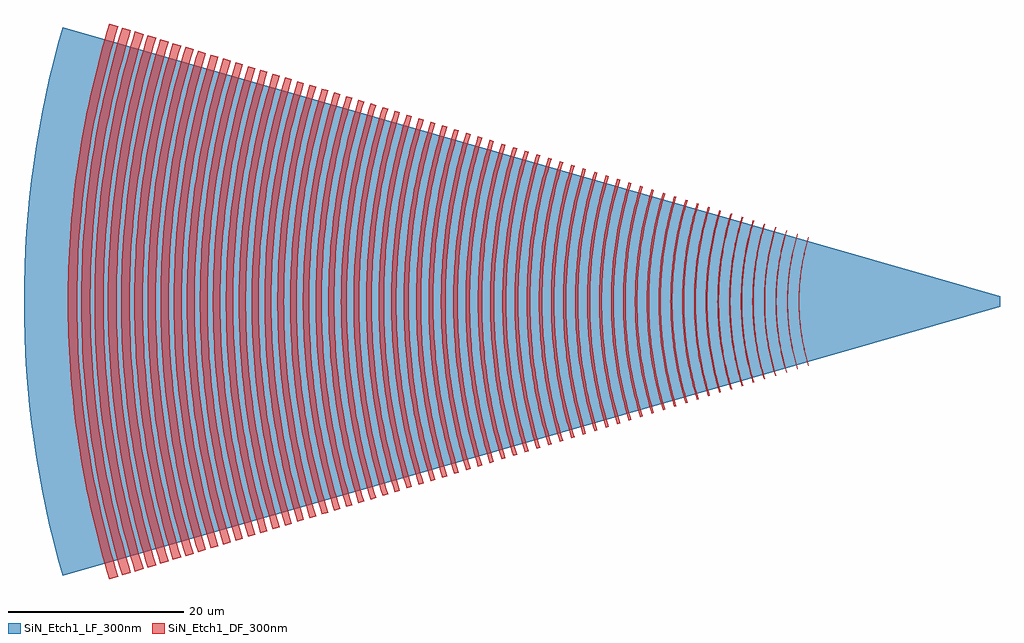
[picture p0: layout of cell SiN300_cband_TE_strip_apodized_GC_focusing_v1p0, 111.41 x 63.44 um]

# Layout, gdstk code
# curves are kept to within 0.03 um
import gdstk
lib = gdstk.Library(unit=1e-6, precision=1e-09)
def P(c, l, *ps):  # polygons
    for p in ps: c.add(gdstk.Polygon(p, *l))
SiN_Etch1_LF_300nm = (203, 0)
SiN_Etch1_DF_300nm = (204, 0)

sin300_cband_te_strip_ap = lib.new_cell('SiN300_cband_TE_strip_apodized_GC_focusing_v1p0')
P(sin300_cband_te_strip_ap, SiN_Etch1_LF_300nm, [(-107.015,-31.286),(-108.04,-27.459),(-108.932,-23.599),(-109.688,-19.71),(-110.307,-15.797),(-110.79,-11.864),(-111.136,-7.918),(-111.343,-3.961),(-111.412,0),(-111.343,3.961),(-111.136,7.918),(-110.79,11.864),(-110.307,15.797),(-109.688,19.71),(-108.932,23.599),(-108.04,27.459),(-107.015,31.286),(0,0.6),(0,-0.6)])
P(sin300_cband_te_strip_ap, SiN_Etch1_DF_300nm, [(-21.878,-7.327),(-22.119,-6.487),(-22.33,-5.639),(-22.513,-4.782),(-22.697,-3.705),(-22.812,-2.837),(-22.896,-1.966),(-22.958,-0.874),(-22.973,0),(-22.958,0.874),(-22.896,1.966),(-22.812,2.837),(-22.697,3.705),(-22.513,4.782),(-22.33,5.639),(-22.119,6.487),(-21.878,7.327),(-21.816,7.309),(-22.112,6.26),(-22.315,5.411),(-22.528,4.341),(-22.665,3.479),(-22.771,2.613),(-22.847,1.744),(-22.893,0.872),(-22.908,0),(-22.893,-0.872),(-22.847,-1.744),(-22.771,-2.613),(-22.665,-3.479),(-22.528,-4.341),(-22.315,-5.411),(-22.112,-6.26),(-21.816,-7.309)],
  [(-23.137,-7.713),(-23.39,-6.827),(-23.664,-5.71),(-23.848,-4.807),(-23.999,-3.9),(-24.119,-2.986),(-24.208,-2.07),(-24.273,-0.921),(-24.289,0),(-24.273,0.921),(-24.208,2.07),(-24.119,2.986),(-23.999,3.9),(-23.848,4.807),(-23.664,5.71),(-23.39,6.827),(-23.137,7.713),(-23.061,7.69),(-23.314,6.807),(-23.587,5.693),(-23.77,4.793),(-23.954,3.661),(-24.066,2.749),(-24.146,1.835),(-24.194,0.918),(-24.21,0),(-24.194,-0.918),(-24.146,-1.835),(-24.066,-2.749),(-23.954,-3.661),(-23.77,-4.793),(-23.587,-5.693),(-23.314,-6.807),(-23.061,-7.69)],
  [(-24.398,-8.099),(-24.726,-6.935),(-24.952,-5.995),(-25.144,-5.048),(-25.304,-4.095),(-25.43,-3.136),(-25.541,-1.933),(-25.591,-0.966),(-25.608,0),(-25.591,0.966),(-25.541,1.933),(-25.43,3.136),(-25.304,4.095),(-25.144,5.048),(-24.952,5.995),(-24.726,6.935),(-24.398,8.099),(-24.309,8.072),(-24.636,6.912),(-24.861,5.975),(-25.096,4.794),(-25.279,3.603),(-25.388,2.646),(-25.464,1.685),(-25.506,0.723),(-25.515,0),(-25.506,-0.723),(-25.464,-1.685),(-25.388,-2.646),(-25.279,-3.603),(-25.096,-4.794),(-24.861,-5.975),(-24.636,-6.912),(-24.309,-8.072)],
  [(-25.663,-8.485),(-26.006,-7.267),(-26.242,-6.281),(-26.444,-5.289),(-26.611,-4.29),(-26.771,-3.033),(-26.86,-2.024),(-26.912,-1.013),(-26.93,0),(-26.912,1.013),(-26.86,2.024),(-26.771,3.033),(-26.611,4.29),(-26.444,5.289),(-26.242,6.281),(-26.006,7.267),(-25.663,8.485),(-25.56,8.454),(-25.838,7.484),(-26.138,6.258),(-26.384,5.021),(-26.542,4.024),(-26.665,3.022),(-26.753,2.017),(-26.805,1.009),(-26.823,0),(-26.805,-1.009),(-26.753,-2.017),(-26.665,-3.022),(-26.542,-4.024),(-26.384,-5.021),(-26.138,-6.258),(-25.838,-7.484),(-25.56,-8.454)],
  [(-26.929,-8.872),(-27.221,-7.854),(-27.536,-6.568),(-27.747,-5.53),(-27.922,-4.486),(-28.06,-3.436),(-28.162,-2.381),(-28.237,-1.059),(-28.255,0),(-28.237,1.059),(-28.162,2.381),(-28.06,3.436),(-27.922,4.486),(-27.747,5.53),(-27.536,6.568),(-27.221,7.854),(-26.929,8.872),(-26.813,8.837),(-27.104,7.823),(-27.418,6.542),(-27.675,5.249),(-27.84,4.207),(-27.968,3.159),(-28.06,2.108),(-28.116,1.055),(-28.134,0),(-28.116,-1.055),(-28.06,-2.108),(-27.968,-3.159),(-27.84,-4.207),(-27.675,-5.249),(-27.418,-6.542),(-27.104,-7.823),(-26.813,-8.837)],
  [(-28.199,-9.26),(-28.503,-8.198),(-28.772,-7.125),(-29.002,-6.044),(-29.236,-4.682),(-29.379,-3.585),(-29.486,-2.486),(-29.564,-1.106),(-29.583,0),(-29.564,1.106),(-29.486,2.486),(-29.379,3.585),(-29.236,4.682),(-29.002,6.044),(-28.772,7.125),(-28.503,8.198),(-28.199,9.26),(-28.07,9.221),(-28.443,7.897),(-28.759,6.558),(-28.969,5.477),(-29.178,4.117),(-29.303,3.023),(-29.371,2.2),(-29.429,1.101),(-29.448,0),(-29.429,-1.101),(-29.371,-2.2),(-29.303,-3.023),(-29.178,-4.117),(-28.969,-5.477),(-28.759,-6.558),(-28.443,-7.897),(-28.07,-9.221)],
  [(-29.472,-9.649),(-29.789,-8.542),(-30.068,-7.425),(-30.361,-6.015),(-30.551,-4.879),(-30.702,-3.737),(-30.813,-2.59),(-30.883,-1.439),(-30.914,0),(-30.883,1.439),(-30.813,2.59),(-30.702,3.737),(-30.551,4.879),(-30.361,6.015),(-30.068,7.425),(-29.789,8.542),(-29.472,9.649),(-29.329,9.606),(-29.718,8.227),(-29.986,7.112),(-30.266,5.706),(-30.484,4.289),(-30.614,3.149),(-30.704,2.006),(-30.754,0.86),(-30.765,0),(-30.754,-0.86),(-30.704,-2.006),(-30.614,-3.149),(-30.484,-4.289),(-30.266,-5.706),(-29.986,-7.112),(-29.718,-8.227),(-29.329,-9.606)],
  [(-30.748,-10.039),(-31.077,-8.888),(-31.368,-7.725),(-31.673,-6.258),(-31.871,-5.076),(-32.06,-3.589),(-32.165,-2.395),(-32.227,-1.199),(-32.248,0),(-32.227,1.199),(-32.165,2.395),(-32.06,3.589),(-31.871,5.076),(-31.673,6.258),(-31.368,7.725),(-31.077,8.888),(-30.748,10.039),(-30.592,9.992),(-30.92,8.846),(-31.275,7.397),(-31.566,5.935),(-31.793,4.461),(-32.002,2.384),(-32.064,1.193),(-32.085,0),(-32.064,-1.193),(-32.002,-2.384),(-31.793,-4.461),(-31.566,-5.935),(-31.275,-7.397),(-30.92,-8.846),(-30.592,-9.992)],
  [(-32.027,-10.43),(-32.369,-9.234),(-32.74,-7.721),(-32.988,-6.501),(-33.193,-5.273),(-33.39,-3.73),(-33.499,-2.488),(-33.563,-1.245),(-33.585,0),(-33.563,1.245),(-33.499,2.488),(-33.39,3.73),(-33.193,5.273),(-32.988,6.501),(-32.74,7.721),(-32.369,9.234),(-32.027,10.43),(-31.856,10.379),(-32.197,9.188),(-32.566,7.683),(-32.868,6.164),(-33.103,4.634),(-33.321,2.476),(-33.385,1.239),(-33.407,0),(-33.385,-1.239),(-33.321,-2.476),(-33.103,-4.634),(-32.868,-6.164),(-32.566,-7.683),(-32.197,-9.188),(-31.856,-10.379)],
  [(-33.308,-10.822),(-33.663,-9.581),(-33.976,-8.327),(-34.245,-7.063),(-34.519,-5.471),(-34.687,-4.19),(-34.835,-2.582),(-34.903,-1.292),(-34.925,0),(-34.903,1.292),(-34.835,2.582),(-34.687,4.19),(-34.519,5.471),(-34.245,7.063),(-33.976,8.327),(-33.663,9.581),(-33.308,10.822),(-33.124,10.767),(-33.56,9.22),(-33.86,7.97),(-34.174,6.395),(-34.418,4.807),(-34.643,2.569),(-34.711,1.285),(-34.733,0),(-34.711,-1.285),(-34.643,-2.569),(-34.418,-4.807),(-34.174,-6.395),(-33.86,-7.97),(-33.56,-9.22),(-33.124,-10.767)],
  [(-34.592,-11.215),(-34.961,-9.929),(-35.285,-8.63),(-35.626,-6.991),(-35.847,-5.67),(-36.022,-4.342),(-36.174,-2.676),(-36.245,-1.339),(-36.268,0),(-36.245,1.339),(-36.174,2.676),(-36.022,4.342),(-35.847,5.67),(-35.626,6.991),(-35.285,8.63),(-34.961,9.929),(-34.592,11.215),(-34.394,11.155),(-34.846,9.553),(-35.157,8.258),(-35.481,6.625),(-35.735,4.98),(-35.885,3.657),(-35.99,2.329),(-36.061,0),(-35.99,-2.329),(-35.885,-3.657),(-35.735,-4.98),(-35.481,-6.625),(-35.157,-8.258),(-34.846,-9.553),(-34.394,-11.155)],
  [(-35.88,-11.608),(-36.262,-10.276),(-36.673,-8.594),(-36.949,-7.236),(-37.178,-5.869),(-37.397,-4.15),(-37.517,-2.769),(-37.59,-1.386),(-37.614,0),(-37.59,1.386),(-37.517,2.769),(-37.397,4.15),(-37.178,5.869),(-36.949,7.236),(-36.673,8.594),(-36.262,10.276),(-35.88,11.608),(-35.668,11.544),(-36.048,10.219),(-36.457,8.546),(-36.793,6.856),(-37.055,5.154),(-37.297,2.754),(-37.369,1.378),(-37.393,0),(-37.369,-1.378),(-37.297,-2.754),(-37.055,-5.154),(-36.793,-6.856),(-36.457,-8.546),(-36.048,-10.219),(-35.668,-11.544)],
  [(-37.169,-12.002),(-37.564,-10.626),(-37.911,-9.235),(-38.209,-7.834),(-38.512,-6.068),(-38.7,-4.647),(-38.863,-2.864),(-38.938,-1.433),(-38.963,0),(-38.938,1.433),(-38.863,2.864),(-38.7,4.647),(-38.512,6.068),(-38.209,7.834),(-37.911,9.235),(-37.564,10.626),(-37.169,12.002),(-36.943,11.934),(-37.427,10.22),(-37.835,8.487),(-38.107,7.088),(-38.378,5.328),(-38.628,2.847),(-38.702,1.425),(-38.727,0),(-38.702,-1.425),(-38.628,-2.847),(-38.378,-5.328),(-38.107,-7.088),(-37.835,-8.487),(-37.427,-10.22),(-36.943,-11.934)],
  [(-38.462,-12.397),(-38.87,-10.976),(-39.229,-9.54),(-39.605,-7.728),(-39.849,-6.268),(-40.042,-4.8),(-40.184,-3.327),(-40.275,-1.85),(-40.315,0),(-40.275,1.85),(-40.184,3.327),(-40.042,4.8),(-39.849,6.268),(-39.605,7.728),(-39.229,9.54),(-38.87,10.976),(-38.462,12.397),(-38.222,12.325),(-38.721,10.555),(-39.143,8.765),(-39.424,7.32),(-39.703,5.502),(-39.961,2.941),(-40.038,1.471),(-40.064,0),(-40.038,-1.471),(-39.961,-2.941),(-39.703,-5.502),(-39.424,-7.32),(-39.143,-8.765),(-38.721,-10.555),(-38.222,-12.325)],
  [(-39.759,-12.794),(-40.278,-10.958),(-40.634,-9.471),(-40.939,-7.975),(-41.19,-6.469),(-41.536,-3.434),(-41.63,-1.909),(-41.671,0),(-41.63,1.909),(-41.536,3.434),(-41.19,6.469),(-40.939,7.975),(-40.634,9.471),(-40.278,10.958),(-39.759,12.794),(-39.504,12.717),(-40.02,10.891),(-40.374,9.414),(-40.744,7.553),(-41.033,5.677),(-41.205,4.169),(-41.324,2.655),(-41.405,0),(-41.324,-2.655),(-41.205,-4.169),(-41.033,-5.677),(-40.744,-7.553),(-40.374,-9.414),(-40.02,-10.891),(-39.504,-12.717)],
  [(-41.059,-13.191),(-41.874,-10.15),(-42.201,-8.61),(-42.534,-6.67),(-42.891,-3.54),(-43.003,-1.575),(-43.03,0),(-43.003,1.575),(-42.891,3.54),(-42.534,6.67),(-42.201,8.61),(-41.874,10.15),(-41.059,13.191),(-40.79,13.11),(-41.321,11.227),(-41.769,9.323),(-42.134,7.401),(-42.415,5.465),(-42.665,2.737),(-42.749,0),(-42.665,-2.737),(-42.415,-5.465),(-42.134,-7.401),(-41.769,-9.323),(-41.321,-11.227),(-40.79,-13.11)],
  [(-42.361,-13.589),(-42.912,-11.639),(-43.29,-10.061),(-43.882,-6.871),(-44.249,-3.647),(-44.364,-1.622),(-44.392,0),(-44.364,1.622),(-44.249,3.647),(-43.882,6.871),(-43.29,10.061),(-42.912,11.639),(-42.361,13.589),(-42.078,13.504),(-42.625,11.565),(-43.087,9.603),(-43.463,7.623),(-43.701,6.029),(-44.01,2.82),(-44.096,0),(-44.01,-2.82),(-43.701,-6.029),(-43.463,-7.623),(-43.087,-9.603),(-42.625,-11.565),(-42.078,-13.504)],
  [(-43.668,-13.989),(-44.532,-10.764),(-44.957,-8.72),(-45.233,-7.073),(-45.496,-5.002),(-45.641,-3.338),(-45.758,0),(-45.641,3.338),(-45.496,5.002),(-45.233,7.073),(-44.957,8.72),(-44.532,10.764),(-43.668,13.989),(-43.369,13.899),(-43.932,11.903),(-44.407,9.884),(-44.794,7.846),(-45.092,5.793),(-45.357,2.902),(-45.446,0),(-45.357,-2.902),(-45.092,-5.793),(-44.794,-7.846),(-44.407,-9.884),(-43.932,-11.903),(-43.369,-13.899)],
  [(-44.977,-14.389),(-45.866,-11.072),(-46.223,-9.392),(-46.586,-7.275),(-46.811,-5.572),(-47.007,-3.434),(-47.127,0),(-47.007,3.434),(-46.811,5.572),(-46.586,7.275),(-46.223,9.392),(-45.866,11.072),(-44.977,14.389),(-44.664,14.295),(-45.243,12.242),(-45.732,10.165),(-46.129,8.07),(-46.436,5.958),(-46.709,2.985),(-46.8,0),(-46.709,-2.985),(-46.436,-5.958),(-46.129,-8.07),(-45.732,-10.165),(-45.243,-12.242),(-44.664,-14.295)],
  [(-46.288,-14.79),(-46.775,-13.093),(-47.3,-10.95),(-47.652,-9.22),(-47.943,-7.478),(-48.174,-5.727),(-48.376,-3.529),(-48.468,-1.766),(-48.499,0),(-48.468,1.766),(-48.376,3.529),(-48.174,5.727),(-47.943,7.478),(-47.652,9.22),(-47.3,10.95),(-46.775,13.093),(-46.288,14.79),(-45.96,14.691),(-46.555,12.581),(-47.058,10.447),(-47.467,8.293),(-47.781,6.124),(-48.062,3.068),(-48.156,0),(-48.062,-3.068),(-47.781,-6.124),(-47.467,-8.293),(-47.058,-10.447),(-46.555,-12.581),(-45.96,-14.691)],
  [(-47.604,-15.192),(-48.104,-13.45),(-48.643,-11.248),(-49.004,-9.47),(-49.303,-7.681),(-49.54,-5.883),(-49.714,-4.077),(-49.843,-1.813),(-49.874,0),(-49.843,1.813),(-49.714,4.077),(-49.54,5.883),(-49.303,7.681),(-49.004,9.47),(-48.643,11.248),(-48.104,13.45),(-47.604,15.192),(-47.261,15.089),(-47.872,12.922),(-48.388,10.73),(-48.808,8.518),(-49.131,6.289),(-49.42,3.151),(-49.516,0),(-49.42,-3.151),(-49.131,-6.289),(-48.808,-8.518),(-48.388,-10.73),(-47.872,-12.922),(-47.261,-15.089)],
  [(-48.922,-15.596),(-49.554,-13.357),(-49.988,-11.546),(-50.36,-9.721),(-50.667,-7.885),(-50.91,-6.038),(-51.089,-4.186),(-51.203,-2.328),(-51.253,0),(-51.203,2.328),(-51.089,4.186),(-50.91,6.038),(-50.667,7.885),(-50.36,9.721),(-49.988,11.546),(-49.554,13.357),(-48.922,15.596),(-48.564,15.487),(-49.192,13.263),(-49.721,11.013),(-50.153,8.743),(-50.484,6.456),(-50.78,3.234),(-50.879,0),(-50.78,-3.234),(-50.484,-6.456),(-50.153,-8.743),(-49.721,-11.013),(-49.192,-13.263),(-48.564,-15.487)],
  [(-50.245,-15.999),(-50.771,-14.164),(-51.338,-11.846),(-51.719,-9.973),(-52.034,-8.09),(-52.284,-6.195),(-52.502,-3.818),(-52.602,-1.91),(-52.635,0),(-52.602,1.91),(-52.502,3.818),(-52.284,6.195),(-52.034,8.09),(-51.719,9.973),(-51.338,11.846),(-50.771,14.164),(-50.245,15.999),(-49.871,15.887),(-50.514,13.605),(-51.058,11.297),(-51.5,8.968),(-51.84,6.622),(-52.144,3.317),(-52.245,0),(-52.144,-3.317),(-51.84,-6.622),(-51.5,-8.968),(-51.058,-11.297),(-50.514,-13.605),(-49.871,-15.887)],
  [(-51.57,-16.404),(-52.234,-14.05),(-52.691,-12.145),(-53.081,-10.226),(-53.405,-8.294),(-53.66,-6.352),(-53.848,-4.403),(-53.968,-2.448),(-54.021,0),(-53.968,2.448),(-53.848,4.403),(-53.66,6.352),(-53.405,8.294),(-53.081,10.226),(-52.691,12.145),(-52.234,14.05),(-51.57,16.404),(-51.181,16.287),(-51.841,13.948),(-52.398,11.582),(-52.851,9.194),(-53.2,6.789),(-53.511,3.401),(-53.615,0),(-53.511,-3.401),(-53.2,-6.789),(-52.851,-9.194),(-52.398,-11.582),(-51.841,-13.948),(-51.181,-16.287)],
  [(-52.898,-16.81),(-53.579,-14.398),(-54.047,-12.446),(-54.447,-10.479),(-54.778,-8.5),(-55.04,-6.509),(-55.233,-4.511),(-55.356,-2.508),(-55.41,0),(-55.356,2.508),(-55.233,4.511),(-55.04,6.509),(-54.778,8.5),(-54.447,10.479),(-54.047,12.446),(-53.579,14.398),(-52.898,16.81),(-52.494,16.689),(-53.17,14.292),(-53.741,11.868),(-54.205,9.421),(-54.563,6.956),(-54.882,3.485),(-54.988,0),(-54.882,-3.485),(-54.563,-6.956),(-54.205,-9.421),(-53.741,-11.868),(-53.17,-14.292),(-52.494,-16.689)],
  [(-54.229,-17.217),(-54.795,-15.243),(-55.293,-13.248),(-55.816,-10.733),(-56.155,-8.705),(-56.48,-6.156),(-56.659,-4.109),(-56.766,-2.055),(-56.802,0),(-56.766,2.055),(-56.659,4.109),(-56.48,6.156),(-56.155,8.705),(-55.816,10.733),(-55.293,13.248),(-54.795,15.243),(-54.229,17.217),(-53.81,17.091),(-54.502,14.636),(-55.087,12.154),(-55.562,9.648),(-55.928,7.124),(-56.255,3.569),(-56.364,0),(-56.255,-3.569),(-55.928,-7.124),(-55.562,-9.648),(-55.087,-12.154),(-54.502,-14.636),(-53.81,-17.091)],
  [(-55.564,-17.626),(-56.144,-15.604),(-56.769,-13.049),(-57.188,-10.987),(-57.536,-8.912),(-57.81,-6.825),(-58.013,-4.731),(-58.162,-2.104),(-58.198,0),(-58.162,2.104),(-58.013,4.731),(-57.81,6.825),(-57.536,8.912),(-57.188,10.987),(-56.769,13.049),(-56.144,15.604),(-55.564,17.626),(-55.128,17.494),(-55.837,14.981),(-56.435,12.44),(-56.922,9.876),(-57.297,7.292),(-57.631,3.653),(-57.743,0),(-57.631,-3.653),(-57.297,-7.292),(-56.922,-9.876),(-56.435,-12.44),(-55.837,-14.981),(-55.128,-17.494)],
  [(-56.902,-18.034),(-57.632,-15.446),(-58.135,-13.352),(-58.564,-11.242),(-58.92,-9.119),(-59.259,-6.448),(-59.447,-4.303),(-59.56,-2.152),(-59.597,0),(-59.56,2.152),(-59.447,4.303),(-59.259,6.448),(-58.92,9.119),(-58.564,11.242),(-58.135,13.352),(-57.632,15.446),(-56.902,18.034),(-56.451,17.898),(-57.176,15.328),(-57.675,13.25),(-58.101,11.156),(-58.454,9.049),(-58.791,6.399),(-58.977,4.27),(-59.089,2.136),(-59.126,0),(-59.089,-2.136),(-58.977,-4.27),(-58.791,-6.399),(-58.454,-9.049),(-58.101,-11.156),(-57.675,-13.25),(-57.176,-15.328),(-56.451,-17.898)],
  [(-58.244,-18.444),(-58.991,-15.797),(-59.504,-13.656),(-59.944,-11.498),(-60.307,-9.325),(-60.595,-7.142),(-60.806,-4.95),(-60.962,-2.202),(-61,0),(-60.962,2.202),(-60.806,4.95),(-60.595,7.142),(-60.307,9.325),(-59.944,11.498),(-59.504,13.656),(-58.991,15.797),(-58.244,18.444),(-57.777,18.304),(-58.518,15.675),(-59.028,13.55),(-59.464,11.409),(-59.824,9.253),(-60.11,7.087),(-60.319,4.912),(-60.474,2.185),(-60.512,0),(-60.474,-2.185),(-60.319,-4.912),(-60.11,-7.087),(-59.824,-9.253),(-59.464,-11.409),(-59.028,-13.55),(-58.518,-15.675),(-57.777,-18.304)],
  [(-59.589,-18.855),(-60.208,-16.693),(-60.753,-14.509),(-61.326,-11.754),(-61.697,-9.533),(-61.992,-7.301),(-62.249,-4.499),(-62.367,-2.251),(-62.406,0),(-62.367,2.251),(-62.249,4.499),(-61.992,7.301),(-61.697,9.533),(-61.326,11.754),(-60.753,14.509),(-60.208,16.693),(-59.589,18.855),(-59.106,18.71),(-59.721,16.563),(-60.262,14.396),(-60.726,12.211),(-61.199,9.459),(-61.491,7.244),(-61.705,5.021),(-61.863,2.233),(-61.902,0),(-61.863,-2.233),(-61.705,-5.021),(-61.491,-7.244),(-61.199,-9.459),(-60.726,-12.211),(-60.262,-14.396),(-59.721,-16.563),(-59.106,-18.71)],
  [(-60.937,-19.267),(-61.57,-17.058),(-62.254,-14.265),(-62.712,-12.011),(-63.092,-9.742),(-63.393,-7.461),(-63.656,-4.598),(-63.776,-2.3),(-63.816,0),(-63.776,2.3),(-63.656,4.598),(-63.393,7.461),(-63.092,9.742),(-62.712,12.011),(-62.254,14.265),(-61.57,17.058),(-60.937,19.267),(-60.438,19.117),(-61.067,16.923),(-61.619,14.709),(-62.094,12.476),(-62.577,9.665),(-62.875,7.402),(-63.136,4.561),(-63.255,2.282),(-63.295,0),(-63.255,-2.282),(-63.136,-4.561),(-62.875,-7.402),(-62.577,-9.665),(-62.094,-12.476),(-61.619,-14.709),(-61.067,-16.923),(-60.438,-19.117)],
  [(-62.289,-19.681),(-63.086,-16.856),(-63.634,-14.572),(-64.103,-12.268),(-64.49,-9.95),(-64.798,-7.621),(-65.066,-4.696),(-65.189,-2.35),(-65.23,0),(-65.189,2.35),(-65.066,4.696),(-64.798,7.621),(-64.49,9.95),(-64.103,12.268),(-63.634,14.572),(-63.086,16.856),(-62.289,19.681),(-61.774,19.526),(-62.565,16.721),(-63.109,14.455),(-63.574,12.17),(-63.958,9.871),(-64.263,7.56),(-64.486,5.24),(-64.651,2.331),(-64.692,0),(-64.651,-2.331),(-64.486,-5.24),(-64.263,-7.56),(-63.958,-9.871),(-63.574,-12.17),(-63.109,-14.455),(-62.565,-16.721),(-61.774,-19.526)],
  [(-63.645,-20.094),(-64.305,-17.791),(-65.018,-14.878),(-65.496,-12.527),(-65.892,-10.16),(-66.205,-7.781),(-66.48,-4.795),(-66.605,-2.4),(-66.647,0),(-66.605,2.4),(-66.48,4.795),(-66.205,7.781),(-65.892,10.16),(-65.496,12.527),(-65.018,14.878),(-64.305,17.791),(-63.645,20.094),(-63.113,19.935),(-63.769,17.647),(-64.476,14.758),(-64.95,12.426),(-65.343,10.078),(-65.654,7.719),(-65.882,5.35),(-66.027,2.974),(-66.092,0),(-66.027,-2.974),(-65.882,-5.35),(-65.654,-7.719),(-65.343,-10.078),(-64.95,-12.426),(-64.476,-14.758),(-63.769,-17.647),(-63.113,-19.935)],
  [(-65.003,-20.511),(-65.678,-18.159),(-66.269,-15.783),(-66.893,-12.786),(-67.298,-10.371),(-67.684,-7.334),(-67.897,-4.894),(-68.026,-2.449),(-68.068,0),(-68.026,2.449),(-67.897,4.894),(-67.684,7.334),(-67.298,10.371),(-66.893,12.786),(-66.269,15.783),(-65.678,18.159),(-65.003,20.511),(-64.455,20.346),(-65.125,18.011),(-65.846,15.062),(-66.331,12.681),(-66.732,10.286),(-67.049,7.878),(-67.281,5.46),(-67.454,2.429),(-67.496,0),(-67.454,-2.429),(-67.281,-5.46),(-67.049,-7.878),(-66.732,-10.286),(-66.331,-12.681),(-65.846,-15.062),(-65.125,-18.011),(-64.455,-20.346)],
  [(-66.366,-20.927),(-67.213,-17.924),(-67.796,-15.494),(-68.294,-13.045),(-68.707,-10.581),(-69.033,-8.104),(-69.319,-4.993),(-69.45,-2.499),(-69.493,0),(-69.45,2.499),(-69.319,4.993),(-69.033,8.104),(-68.707,10.581),(-68.294,13.045),(-67.796,15.494),(-67.213,17.924),(-66.366,20.927),(-65.801,20.757),(-66.642,17.776),(-67.22,15.366),(-67.714,12.938),(-68.123,10.494),(-68.447,8.037),(-68.73,4.952),(-68.86,2.478),(-68.903,0),(-68.86,-2.478),(-68.73,-4.952),(-68.447,-8.037),(-68.123,-10.494),(-67.714,-12.938),(-67.22,-15.366),(-66.642,-17.776),(-65.801,-20.757)],
  [(-67.731,-21.344),(-68.596,-18.281),(-69.191,-15.804),(-69.699,-13.305),(-70.119,-10.791),(-70.452,-8.266),(-70.744,-5.093),(-70.877,-2.548),(-70.921,0),(-70.877,2.548),(-70.744,5.093),(-70.452,8.266),(-70.119,10.791),(-69.699,13.305),(-69.191,15.804),(-68.596,18.281),(-67.731,21.344),(-67.15,21.169),(-68.008,18.129),(-68.598,15.672),(-69.102,13.195),(-69.519,10.702),(-69.849,8.197),(-70.138,5.051),(-70.27,2.527),(-70.314,0),(-70.27,-2.527),(-70.138,-5.051),(-69.849,-8.197),(-69.519,-10.702),(-69.102,-13.195),(-68.598,-15.672),(-68.008,-18.129),(-67.15,-21.169)],
  [(-69.1,-21.763),(-69.817,-19.268),(-70.445,-16.747),(-71.107,-13.567),(-71.535,-11.004),(-71.874,-8.428),(-72.123,-5.841),(-72.308,-2.598),(-72.353,0),(-72.308,2.598),(-72.123,5.841),(-71.874,8.428),(-71.535,11.004),(-71.107,13.567),(-70.445,16.747),(-69.817,19.268),(-69.1,21.763),(-68.502,21.583),(-69.213,19.106),(-69.836,16.606),(-70.372,14.086),(-70.917,10.911),(-71.324,7.716),(-71.548,5.149),(-71.683,2.576),(-71.728,0),(-71.683,-2.576),(-71.548,-5.149),(-71.324,-7.716),(-70.917,-10.911),(-70.372,-14.086),(-69.836,-16.606),(-69.213,-19.106),(-68.502,-21.583)],
  [(-70.473,-22.183),(-71.203,-19.639),(-71.991,-16.423),(-72.518,-13.828),(-72.956,-11.216),(-73.301,-8.59),(-73.555,-5.953),(-73.743,-2.649),(-73.789,0),(-73.743,2.649),(-73.555,5.953),(-73.301,8.59),(-72.956,11.216),(-72.518,13.828),(-71.991,16.423),(-71.203,19.639),(-70.473,22.183),(-69.858,21.997),(-70.582,19.473),(-71.218,16.925),(-71.764,14.356),(-72.32,11.121),(-72.734,7.865),(-72.963,5.248),(-73.1,2.626),(-73.146,0),(-73.1,-2.626),(-72.963,-5.248),(-72.734,-7.865),(-72.32,-11.121),(-71.764,-14.356),(-71.218,-16.925),(-70.582,-19.473),(-69.858,-21.997)],
  [(-71.85,-22.604),(-72.594,-20.012),(-73.395,-16.735),(-73.933,-14.09),(-74.379,-11.429),(-74.731,-8.752),(-74.99,-6.067),(-75.181,-2.698),(-75.228,0),(-75.181,2.698),(-74.99,6.067),(-74.731,8.752),(-74.379,11.429),(-73.933,14.09),(-73.395,16.735),(-72.594,20.012),(-71.85,22.604),(-71.218,22.413),(-71.956,19.841),(-72.751,16.592),(-73.284,13.97),(-73.726,11.331),(-74.075,8.678),(-74.332,6.015),(-74.495,3.344),(-74.568,0),(-74.495,-3.344),(-74.332,-6.015),(-74.075,-8.678),(-73.726,-11.331),(-73.284,-13.97),(-72.751,-16.592),(-71.956,-19.841),(-71.218,-22.413)],
  [(-73.231,-23.025),(-73.988,-20.386),(-74.654,-17.717),(-75.225,-15.029),(-75.807,-11.642),(-76.166,-8.916),(-76.48,-5.494),(-76.624,-2.748),(-76.672,0),(-76.624,2.748),(-76.48,5.494),(-76.166,8.916),(-75.807,11.642),(-75.225,15.029),(-74.654,17.717),(-73.988,20.386),(-73.231,23.025),(-72.581,22.83),(-73.332,20.21),(-73.992,17.565),(-74.685,14.23),(-75.135,11.542),(-75.491,8.839),(-75.803,5.447),(-75.945,2.725),(-75.993,0),(-75.945,-2.725),(-75.803,-5.447),(-75.491,-8.839),(-75.135,-11.542),(-74.685,-14.23),(-73.992,-17.565),(-73.332,-20.21),(-72.581,-22.83)],
  [(-74.616,-23.449),(-75.387,-20.76),(-76.219,-17.361),(-76.777,-14.617),(-77.239,-11.856),(-77.605,-9.08),(-77.873,-6.294),(-78.072,-2.8),(-78.12,0),(-78.072,2.8),(-77.873,6.294),(-77.605,9.08),(-77.239,11.856),(-76.777,14.617),(-76.219,17.361),(-75.387,20.76),(-74.616,23.449),(-73.949,23.248),(-74.714,20.58),(-75.385,17.887),(-76.092,14.49),(-76.55,11.753),(-76.912,9.001),(-77.178,6.239),(-77.375,2.775),(-77.423,0),(-77.375,-2.775),(-77.178,-6.239),(-76.912,-9.001),(-76.55,-11.753),(-76.092,-14.49),(-75.385,-17.887),(-74.714,-20.58),(-73.949,-23.248)],
  [(-76.005,-23.873),(-76.79,-21.136),(-77.479,-18.371),(-78.072,-15.583),(-78.675,-12.071),(-79.125,-8.535),(-79.373,-5.697),(-79.523,-2.85),(-79.572,0),(-79.523,2.85),(-79.373,5.697),(-79.125,8.535),(-78.675,12.071),(-78.072,15.583),(-77.479,18.371),(-76.79,21.136),(-76.005,23.873),(-75.32,23.667),(-76.279,20.268),(-76.938,17.521),(-77.502,14.752),(-77.968,11.965),(-78.414,8.461),(-78.66,5.647),(-78.808,2.825),(-78.857,0),(-78.808,-2.825),(-78.66,-5.647),(-78.414,-8.461),(-77.968,-11.965),(-77.502,-14.752),(-76.938,-17.521),(-76.279,-20.268),(-75.32,-23.667)],
  [(-77.397,-24.298),(-78.381,-20.812),(-79.058,-17.991),(-79.636,-15.148),(-80.115,-12.285),(-80.493,-9.409),(-80.772,-6.522),(-80.978,-2.901),(-81.028,0),(-80.978,2.901),(-80.772,6.522),(-80.493,9.409),(-80.115,12.285),(-79.636,15.148),(-79.058,17.991),(-78.381,20.812),(-77.397,24.298),(-76.694,24.087),(-77.487,21.323),(-78.341,17.832),(-78.914,15.014),(-79.389,12.177),(-79.764,9.326),(-80.04,6.464),(-80.216,3.594),(-80.294,0),(-80.216,-3.594),(-80.04,-6.464),(-79.764,-9.326),(-79.389,-12.177),(-78.914,-15.014),(-78.341,-17.832),(-77.67,-20.628),(-76.694,-24.087)],
  [(-78.792,-24.726),(-79.605,-21.891),(-80.32,-19.026),(-80.933,-16.138),(-81.558,-12.501),(-81.943,-9.574),(-82.227,-6.636),(-82.436,-2.952),(-82.487,0),(-82.436,2.952),(-82.227,6.636),(-81.943,9.574),(-81.558,12.501),(-80.933,16.138),(-80.32,19.026),(-79.605,21.891),(-78.792,24.726),(-78.072,24.509),(-78.879,21.696),(-79.587,18.857),(-80.195,15.995),(-80.814,12.39),(-81.196,9.489),(-81.477,6.577),(-81.684,2.926),(-81.735,0),(-81.684,-2.926),(-81.477,-6.577),(-81.196,-9.489),(-80.814,-12.39),(-80.195,-15.995),(-79.587,-18.857),(-78.879,-21.696),(-78.072,-24.509)],
  [(-80.192,-25.153),(-81.019,-22.269),(-81.912,-18.623),(-82.51,-15.681),(-83.006,-12.718),(-83.398,-9.741),(-83.686,-6.75),(-83.899,-3.003),(-83.951,0),(-83.899,3.003),(-83.686,6.75),(-83.398,9.741),(-83.006,12.718),(-82.51,15.681),(-81.912,18.623),(-81.019,22.269),(-80.192,25.153),(-79.454,24.931),(-80.464,21.35),(-81.159,18.456),(-81.752,15.54),(-82.243,12.604),(-82.632,9.653),(-82.917,6.69),(-83.099,3.72),(-83.18,0),(-83.099,-3.72),(-82.917,-6.69),(-82.632,-9.653),(-82.243,-12.604),(-81.752,-15.54),(-81.159,-18.456),(-80.464,-21.35),(-79.454,-24.931)],
  [(-81.597,-25.582),(-82.437,-22.65),(-83.176,-19.685),(-83.954,-15.948),(-84.457,-12.935),(-84.857,-9.906),(-85.15,-6.866),(-85.366,-3.055),(-85.419,0),(-85.366,3.055),(-85.15,6.866),(-84.857,9.906),(-84.457,12.935),(-83.954,15.948),(-83.176,19.685),(-82.437,22.65),(-81.597,25.582),(-80.84,25.355),(-81.867,21.713),(-82.573,18.77),(-83.177,15.804),(-83.676,12.818),(-84.072,9.817),(-84.362,6.804),(-84.576,3.027),(-84.629,0),(-84.576,-3.027),(-84.362,-6.804),(-84.072,-9.817),(-83.676,-12.818),(-83.177,-15.804),(-82.573,-18.77),(-81.867,-21.713),(-80.84,-25.355)],
  [(-83.004,-26.013),(-83.859,-23.03),(-84.782,-19.259),(-85.402,-16.215),(-85.913,-13.153),(-86.319,-10.073),(-86.617,-6.982),(-86.837,-3.105),(-86.891,0),(-86.837,3.105),(-86.617,6.982),(-86.319,10.073),(-85.913,13.153),(-85.402,16.215),(-84.782,19.259),(-83.859,23.03),(-83.004,26.013),(-82.229,25.78),(-83.078,22.821),(-83.992,19.084),(-84.606,16.068),(-85.113,13.033),(-85.515,9.982),(-85.81,6.918),(-85.998,3.846),(-86.082,0),(-85.998,-3.846),(-85.81,-6.918),(-85.515,-9.982),(-85.113,-13.033),(-84.606,-16.068),(-83.992,-19.084),(-83.078,-22.821),(-82.229,-25.78)],
  [(-84.416,-26.444),(-85.285,-23.412),(-86.049,-20.349),(-86.705,-17.26),(-87.373,-13.371),(-87.786,-10.241),(-88.147,-6.31),(-88.312,-3.157),(-88.367,0),(-88.312,3.157),(-88.147,6.31),(-87.786,10.241),(-87.373,13.371),(-86.705,17.26),(-86.049,20.349),(-85.285,23.412),(-84.416,26.444),(-83.623,26.206),(-84.485,23.198),(-85.242,20.163),(-86.038,16.334),(-86.554,13.248),(-86.963,10.147),(-87.321,6.252),(-87.484,3.128),(-87.539,0),(-87.484,-3.128),(-87.321,-6.252),(-86.963,-10.147),(-86.554,-13.248),(-86.038,-16.334),(-85.242,-20.163),(-84.485,-23.198),(-83.623,-26.206)],
  [(-85.831,-26.876),(-86.919,-23.019),(-87.668,-19.9),(-88.308,-16.755),(-88.837,-13.589),(-89.256,-10.408),(-89.623,-6.413),(-89.791,-3.209),(-89.847,0),(-89.791,3.209),(-89.623,6.413),(-89.256,10.408),(-88.837,13.589),(-88.308,16.755),(-87.668,19.9),(-86.919,23.019),(-85.831,26.876),(-85.019,26.632),(-86.098,22.807),(-86.84,19.716),(-87.474,16.6),(-87.998,13.464),(-88.5,9.522),(-88.777,6.354),(-88.944,3.179),(-88.999,0),(-88.944,-3.179),(-88.777,-6.354),(-88.5,-9.522),(-87.998,-13.464),(-87.474,-16.6),(-86.84,-19.716),(-86.098,-22.807),(-85.019,-26.632)],
  [(-87.25,-27.311),(-88.147,-24.179),(-88.937,-21.016),(-89.766,-17.025),(-90.304,-13.809),(-90.819,-9.766),(-91.104,-6.516),(-91.274,-3.26),(-91.331,0),(-91.274,3.26),(-91.104,6.516),(-90.819,9.766),(-90.304,13.809),(-89.766,17.025),(-88.937,21.016),(-88.147,24.179),(-87.25,27.311),(-86.42,27.061),(-87.31,23.955),(-88.092,20.821),(-88.914,16.867),(-89.447,13.681),(-89.869,10.478),(-90.239,6.456),(-90.408,3.23),(-90.464,0),(-90.408,-3.23),(-90.239,-6.456),(-89.869,-10.478),(-89.447,-13.681),(-88.914,-16.867),(-88.092,-20.821),(-87.31,-23.955),(-86.42,-27.061)],
  [(-88.674,-27.745),(-89.797,-23.764),(-90.57,-20.543),(-91.231,-17.297),(-91.777,-14.029),(-92.21,-10.745),(-92.589,-6.621),(-92.762,-3.312),(-92.82,0),(-92.762,3.312),(-92.589,6.621),(-92.21,10.745),(-91.777,14.029),(-91.231,17.297),(-90.57,20.543),(-89.797,23.764),(-88.674,27.745),(-87.825,27.49),(-88.938,23.542),(-89.704,20.351),(-90.359,17.135),(-90.9,13.898),(-91.329,10.644),(-91.704,6.559),(-91.876,3.281),(-91.933,0),(-91.876,-3.281),(-91.704,-6.559),(-91.329,-10.644),(-90.9,-13.898),(-90.359,-17.135),(-89.704,-20.351),(-88.938,-23.542),(-87.825,-27.49)],
  [(-90.102,-28.182),(-91.028,-24.952),(-91.842,-21.686),(-92.699,-17.568),(-93.254,-14.25),(-93.693,-10.914),(-94.016,-7.564),(-94.221,-4.206),(-94.313,0),(-94.221,4.206),(-94.016,7.564),(-93.693,10.914),(-93.254,14.25),(-92.699,17.568),(-91.842,21.686),(-91.028,24.952),(-90.102,28.182),(-89.233,27.921),(-90.152,24.717),(-91.142,20.67),(-91.807,17.403),(-92.357,14.116),(-92.792,10.811),(-93.112,7.493),(-93.348,3.333),(-93.406,0),(-93.348,-3.333),(-93.112,-7.493),(-92.792,-10.811),(-92.357,-14.116),(-91.807,-17.403),(-91.142,-20.67),(-90.152,-24.717),(-89.233,-27.921)],
  [(-91.534,-28.62),(-92.474,-25.339),(-93.301,-22.023),(-94.011,-18.681),(-94.735,-14.471),(-95.181,-11.083),(-95.572,-6.83),(-95.75,-3.416),(-95.81,0),(-95.75,3.416),(-95.572,6.83),(-95.274,10.234),(-94.735,14.471),(-94.011,18.681),(-93.301,22.023),(-92.474,25.339),(-91.534,28.62),(-90.646,28.353),(-91.579,25.099),(-92.398,21.815),(-93.259,17.672),(-93.818,14.334),(-94.26,10.978),(-94.647,6.765),(-94.824,3.384),(-94.883,0),(-94.824,-3.384),(-94.647,-6.765),(-94.26,-10.978),(-93.818,-14.334),(-93.259,-17.672),(-92.398,-21.815),(-91.579,-25.099),(-90.646,-28.353)],
  [(-92.969,-29.059),(-93.924,-25.727),(-94.764,-22.361),(-95.485,-18.967),(-96.22,-14.693),(-96.767,-10.39),(-97.069,-6.934),(-97.25,-3.469),(-97.311,0),(-97.25,3.469),(-97.069,6.934),(-96.767,10.39),(-96.22,14.693),(-95.485,18.967),(-94.764,22.361),(-93.924,25.727),(-92.969,29.059),(-92.062,28.786),(-93.009,25.482),(-93.841,22.148),(-94.555,18.786),(-95.283,14.553),(-95.825,10.291),(-96.124,6.868),(-96.304,3.436),(-96.364,0),(-96.304,-3.436),(-96.124,-6.868),(-95.825,-10.291),(-95.283,-14.553),(-94.555,-18.786),(-93.841,-22.148),(-93.009,-25.482),(-92.062,-28.786)],
  [(-94.408,-29.498),(-95.378,-26.118),(-96.23,-22.699),(-96.962,-19.254),(-97.707,-14.914),(-98.168,-11.424),(-98.571,-7.04),(-98.754,-3.522),(-98.816,0),(-98.754,3.522),(-98.571,7.04),(-98.168,11.424),(-97.707,14.914),(-96.962,19.254),(-96.23,22.699),(-95.378,26.118),(-94.408,29.498),(-93.482,29.22),(-94.444,25.867),(-95.288,22.482),(-96.013,19.07),(-96.751,14.772),(-97.207,11.314),(-97.606,6.972),(-97.788,3.488),(-97.849,0),(-97.788,-3.488),(-97.606,-6.972),(-97.207,-11.314),(-96.751,-14.772),(-96.013,-19.07),(-95.288,-22.482),(-94.444,-25.867),(-93.482,-29.22)],
  [(-95.852,-29.94),(-97.064,-25.643),(-97.899,-22.167),(-98.611,-18.664),(-99.201,-15.138),(-99.668,-11.594),(-100.077,-7.144),(-100.263,-3.575),(-100.326,0),(-100.263,3.575),(-100.077,7.144),(-99.668,11.594),(-99.201,15.138),(-98.611,18.664),(-97.899,22.167),(-97.064,25.643),(-95.852,29.94),(-94.906,29.655),(-95.882,26.252),(-96.934,21.953),(-97.64,18.484),(-98.224,14.992),(-98.686,11.482),(-99.091,7.075),(-99.276,3.54),(-99.338,0),(-99.276,-3.54),(-99.091,-7.075),(-98.686,-11.482),(-98.224,-14.992),(-97.64,-18.484),(-96.934,-21.953),(-95.882,-26.252),(-94.906,-29.655)],
  [(-97.301,-30.383),(-98.3,-26.9),(-99.177,-23.38),(-100.101,-18.94),(-100.699,-15.362),(-101.173,-11.765),(-101.521,-8.154),(-101.742,-4.533),(-101.841,0),(-101.742,4.533),(-101.521,8.154),(-101.173,11.765),(-100.699,15.362),(-100.101,18.94),(-99.177,23.38),(-98.3,26.9),(-97.301,30.383),(-96.335,30.092),(-97.325,26.639),(-98.194,23.153),(-99.109,18.756),(-99.701,15.213),(-100.17,11.651),(-100.515,8.075),(-100.734,4.489),(-100.832,0),(-100.734,-4.489),(-100.515,-8.075),(-100.17,-11.651),(-99.701,-15.213),(-99.109,-18.756),(-98.194,-23.153),(-97.325,-26.639),(-96.335,-30.092)],
  [(-98.753,-30.827),(-99.767,-27.293),(-100.658,-23.722),(-101.594,-19.217),(-102.202,-15.588),(-102.682,-11.937),(-103.104,-7.356),(-103.295,-3.68),(-103.36,0),(-103.295,3.68),(-103.104,7.356),(-102.682,11.937),(-102.202,15.588),(-101.594,19.217),(-100.658,23.722),(-99.767,27.293),(-98.753,30.827),(-97.767,30.53),(-98.772,27.026),(-99.654,23.49),(-100.411,19.925),(-101.183,15.435),(-101.659,11.821),(-102.076,7.284),(-102.266,3.644),(-102.33,0),(-102.266,-3.644),(-102.076,-7.284),(-101.659,-11.821),(-101.183,-15.435),(-100.411,-19.925),(-99.654,-23.49),(-98.772,-27.026),(-97.767,-30.53)],
  [(-100.212,-31.272),(-101.239,-27.687),(-102.142,-24.064),(-102.919,-20.411),(-103.709,-15.812),(-104.196,-12.11),(-104.554,-8.393),(-104.782,-4.665),(-104.884,0),(-104.782,4.665),(-104.554,8.393),(-104.196,12.11),(-103.709,15.812),(-102.919,20.411),(-102.142,24.064),(-101.239,27.687),(-100.212,31.272),(-99.205,30.969),(-100.224,27.415),(-101.118,23.828),(-101.887,20.211),(-102.67,15.657),(-103.253,11.072),(-103.575,7.389),(-103.768,3.697),(-103.833,0),(-103.768,-3.697),(-103.575,-7.389),(-103.253,-11.072),(-102.67,-15.657),(-101.887,-20.211),(-101.118,-23.828),(-100.224,-27.415),(-99.205,-30.969)],
  [(-101.673,-31.719),(-102.715,-28.082),(-103.632,-24.408),(-104.595,-19.773),(-105.22,-16.037),(-105.714,-12.283),(-106.078,-8.513),(-106.309,-4.733),(-106.412,0),(-106.309,4.733),(-106.078,8.513),(-105.714,12.283),(-105.22,16.037),(-104.595,19.773),(-103.632,24.408),(-102.715,28.082),(-101.673,31.719),(-100.646,31.41),(-101.679,27.805),(-102.587,24.167),(-103.541,19.578),(-104.16,15.879),(-104.649,12.162),(-105.009,8.429),(-105.275,3.749),(-105.34,0),(-105.275,-3.749),(-105.009,-8.429),(-104.649,-12.162),(-104.16,-15.879),(-103.541,-19.578),(-102.587,-24.167),(-101.679,-27.805),(-100.646,-31.41)])

lib.write_gds('SiN300_cband_TE_strip_apodized_GC_focusing_v1p0.gds')
